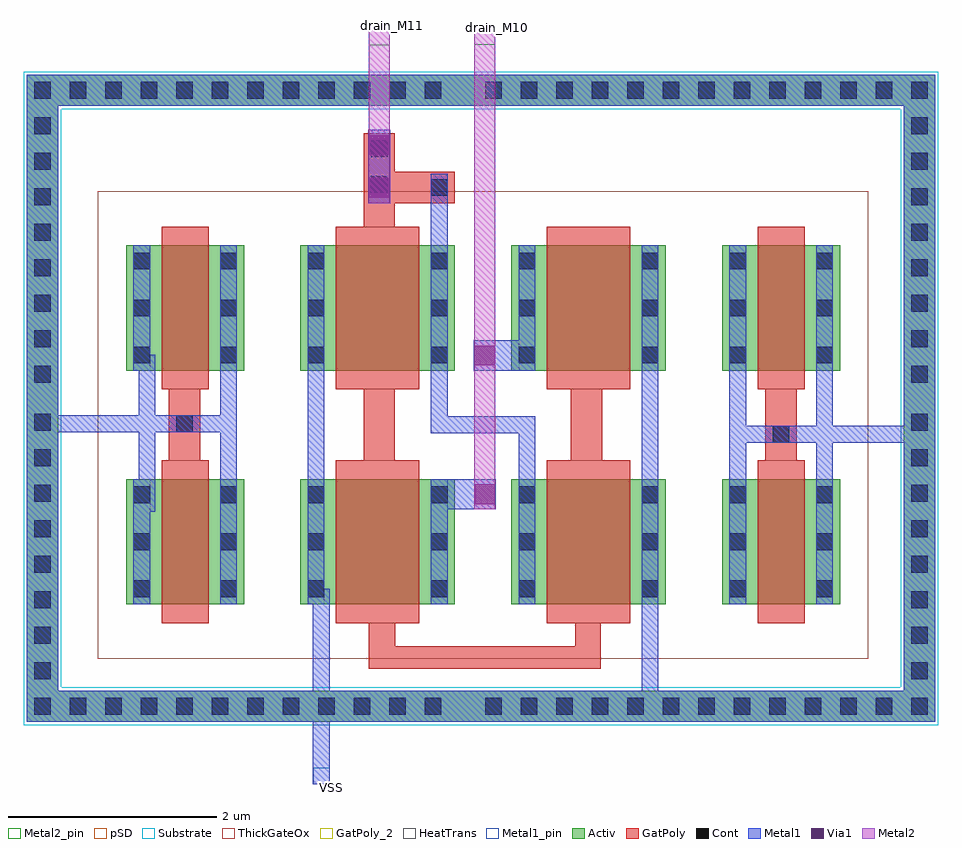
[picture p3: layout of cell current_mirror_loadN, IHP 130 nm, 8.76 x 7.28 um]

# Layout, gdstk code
from math import pi, radians
import gdstk
lib = gdstk.Library(unit=1e-6, precision=5e-09)
def R(c, l, rs):  # rectangles x0, y0, x1, y1
    for r in rs: c.add(gdstk.rectangle(r[:2], r[2:], *l))
def A(c, l, x, y, w, h, nx, ny, dx, dy):  # array of equal rectangles
    R(c, l, [(x+i*dx, y+j*dy, x+i*dx+w, y+j*dy+h) for i in range(nx) for j in range(ny)])
def P(c, l, *ps):  # polygons
    for p in ps: c.add(gdstk.Polygon(p, *l))
Activ = (1, 0)
GatPoly = (5, 0)
GatPoly_2 = (5, 2)
Cont = (6, 0)
Metal1 = (8, 0)
Metal1_pin = (8, 2)
Metal2 = (10, 0)
Metal2_pin = (10, 2)
pSD = (14, 0)
Via1 = (19, 0)
Substrate = (40, 0)
ThickGateOx = (44, 0)
HeatTrans = (51, 0)

nmoshv_4 = lib.new_cell('nmosHV$4')
R(nmoshv_4, Activ, [(0,0,0.3,0.3), (0,0,1.48,1.2), (1.18,0,1.48,0.3)])
R(nmoshv_4, GatPoly, [(0.34,-0.18,1.14,1.38)])
R(nmoshv_4, GatPoly_2, [(0.34,-0.18,1.14,1.38)])
A(nmoshv_4, Cont, 0.07, 0.07, 0.16, 0.16, 1, 3, 0, 0.45)
A(nmoshv_4, Cont, 1.25, 0.07, 0.16, 0.16, 1, 3, 0, 0.45)
R(nmoshv_4, Metal1, [(0.07,0,0.23,1.2), (1.25,0,1.41,1.2)])
R(nmoshv_4, Metal1_pin, [(0.07,0,0.23,1.2), (1.25,0,1.41,1.2)])
R(nmoshv_4, ThickGateOx, [(-0.27,-0.52,1.75,1.72)])
R(nmoshv_4, HeatTrans, [(0.34,-0.18,1.14,1.38)])
nmoshv_4.add(gdstk.Label('nmosHV', (0.74,0.6), layer=63, texttype=0))
nmoshv_4.add(gdstk.Label('nmosHV', (0.74,0.6), layer=51, texttype=0))

nmoshv_6 = lib.new_cell('nmosHV$6')
R(nmoshv_6, Activ, [(0,0,0.3,0.3), (0,0,1.13,1.2), (0.83,0,1.13,0.3)])
R(nmoshv_6, GatPoly, [(0.34,-0.18,0.79,1.38)])
R(nmoshv_6, GatPoly_2, [(0.34,-0.18,0.79,1.38)])
A(nmoshv_6, Cont, 0.07, 0.07, 0.16, 0.16, 1, 3, 0, 0.45)
A(nmoshv_6, Cont, 0.9, 0.07, 0.16, 0.16, 1, 3, 0, 0.45)
R(nmoshv_6, Metal1, [(0.07,0,0.23,1.2), (0.9,0,1.06,1.2)])
R(nmoshv_6, Metal1_pin, [(0.07,0,0.23,1.2), (0.9,0,1.06,1.2)])
R(nmoshv_6, ThickGateOx, [(-0.27,-0.52,1.4,1.72)])
R(nmoshv_6, HeatTrans, [(0.34,-0.18,0.79,1.38)])
nmoshv_6.add(gdstk.Label('nmosHV', (0.565,0.6), layer=63, texttype=0))
nmoshv_6.add(gdstk.Label('nmosHV', (0.565,0.6), layer=51, texttype=0))

via_stack = lib.new_cell('via_stack')
R(via_stack, Metal1, [(-0.145,-0.105,0.145,0.105)])
R(via_stack, Metal2, [(-0.145,-0.1,0.145,0.1)])
R(via_stack, Via1, [(-0.095,-0.095,0.095,0.095)])

via_stack_5 = lib.new_cell('via_stack$5')
R(via_stack_5, GatPoly, [(-0.15,-0.15,0.15,0.15)])
R(via_stack_5, Cont, [(-0.08,-0.08,0.08,0.08)])
R(via_stack_5, Metal1, [(-0.13,-0.08,0.13,0.08)])

via_stack_3 = lib.new_cell('via_stack$3')
R(via_stack_3, GatPoly, [(-0.32,-0.15,0.32,0.15)])
R(via_stack_3, Cont, [(-0.25,-0.08,-0.09,0.08), (0.09,-0.08,0.25,0.08)])
R(via_stack_3, Metal1, [(-0.35,-0.105,0.35,0.105)])
R(via_stack_3, Metal2, [(-0.35,-0.1,0.35,0.1)])
R(via_stack_3, Via1, [(-0.3,-0.095,-0.11,0.095), (0.11,-0.095,0.3,0.095)])

guard_ring_6 = lib.new_cell('guard_ring$6')
R(guard_ring_6, Activ, [(-4.35,-2.8,-4.05,2.8), (4.05,-2.8,4.35,2.8), (-4.35,2.8,4.35,3.1)])
P(guard_ring_6, Activ, [(-4.35,-3.1),(-4.35,2.8),(-4.05,2.8),(-4.05,-2.8),(4.05,-2.8),(4.05,2.8),(-4.35,2.8),(-4.35,3.1),(4.35,3.1),(4.35,-3.1)])
A(guard_ring_6, Cont, -4.28, -3.03, 0.16, 0.16, 12, 2, 0.34, 5.9)
A(guard_ring_6, Cont, 0.04, -3.03, 0.16, 0.16, 13, 2, 0.34, 5.9)
A(guard_ring_6, Cont, -4.28, -2.69, 0.16, 0.16, 1, 8, 0, 0.34)
A(guard_ring_6, Cont, 4.12, -2.69, 0.16, 0.16, 1, 8, 0, 0.34)
A(guard_ring_6, Cont, -4.28, 0.15, 0.16, 0.16, 1, 8, 0, 0.34)
A(guard_ring_6, Cont, 4.12, 0.15, 0.16, 0.16, 1, 8, 0, 0.34)
R(guard_ring_6, Metal1, [(-4.35,-3.1,4.35,-2.8), (-4.35,-2.8,-4.05,2.8), (4.05,-2.8,4.35,2.8), (-4.35,2.8,4.35,3.1)])
R(guard_ring_6, pSD, [(-4.38,-2.77,-4.02,2.77), (4.02,-2.77,4.38,2.77), (-4.38,2.77,4.38,3.13)])
P(guard_ring_6, pSD, [(-4.38,-3.13),(-4.38,2.77),(-4.02,2.77),(-4.02,-2.77),(4.02,-2.77),(4.02,2.77),(-4.38,2.77),(-4.38,3.13),(4.38,3.13),(4.38,-3.13)])
R(guard_ring_6, Substrate, [(-4.38,-2.77,-4.02,2.77), (4.02,-2.77,4.38,2.77), (-4.38,2.77,4.38,3.13)])
P(guard_ring_6, Substrate, [(-4.38,-3.13),(-4.38,2.77),(-4.02,2.77),(-4.02,-2.77),(4.02,-2.77),(4.02,2.77),(-4.38,2.77),(-4.38,3.13),(4.38,3.13),(4.38,-3.13)])
guard_ring_6.add(gdstk.Label('sub!', (0,-2.95), layer=63, texttype=0))

current_mirror_loadn = lib.new_cell('current_mirror_loadN')
R(current_mirror_loadn, GatPoly, [(-0.515,-1.78,-0.26,-1.345), (-0.515,-1.78,1.705,-1.565), (1.465,-1.685,1.705,-1.345), (-2.43,0.215,-2.13,0.895), (-0.565,0.215,-0.265,0.895), (1.42,0.215,1.72,0.895), (3.285,0.215,3.585,0.895), (3.285,0.215,3.585,0.815), (-0.565,2.455,-0.265,3.35)])
P(current_mirror_loadn, GatPoly, [(-0.565,2.68),(-0.565,2.98),(0.31,2.98),(0.31,2.68),(0.27,2.68)])
R(current_mirror_loadn, Metal1, [(-1.05,-2.885,-0.89,-1.015), (2.1,-2.195,2.26,-1.165), (-2.72,-0.275,-2.56,1.225), (0.24,-0.255,0.7,0.035), (-1.94,-0.205,-1.78,1.075), (-1.1,0.035,-0.94,1.075), (0.92,0.035,1.08,0.475), (2.1,0.035,2.26,1.075), (2.94,0.035,3.1,1.075), (3.77,0.035,3.93,1.075), (2.94,0.385,3.585,0.545), (3.305,0.385,4.835,0.545), (0.08,0.475,1.08,0.64), (-3.665,0.485,-1.94,0.645), (0.49,1.075,0.92,1.365), (0.08,2.275,0.24,2.7)])
P(current_mirror_loadn, Metal1, [(0.08,0.64),(0.08,1.075),(0.24,1.075),(0.24,0.835),(0.24,0.77),(0.24,0.64)])
R(current_mirror_loadn, Metal1_pin, [(-1.045,-2.885,-0.89,-2.73)])
R(current_mirror_loadn, Metal2, [(0.495,-0.255,0.695,1.285), (0.495,0.995,0.695,4.38), (-0.515,2.68,-0.315,4.395)])
R(current_mirror_loadn, Metal2_pin, [(-0.515,4.19,-0.315,4.395)])
P(current_mirror_loadn, Metal2_pin, [(0.495,4.195),(0.495,4.38),(0.695,4.38),(0.695,4.195),(0.645,4.195)])
current_mirror_loadn.add(gdstk.Reference(nmoshv_4, (0.85,1.075)))
current_mirror_loadn.add(gdstk.Reference(nmoshv_4, (-1.17,1.075)))
current_mirror_loadn.add(gdstk.Reference(nmoshv_6, (2.87,1.075)))
current_mirror_loadn.add(gdstk.Reference(nmoshv_6, (2.87,-1.165)))
current_mirror_loadn.add(gdstk.Reference(nmoshv_6, (-2.84,1.075)))
current_mirror_loadn.add(gdstk.Reference(nmoshv_6, (-2.84,-1.165)))
current_mirror_loadn.add(gdstk.Reference(nmoshv_4, (-1.17,-1.165)))
current_mirror_loadn.add(gdstk.Reference(via_stack, (0.595,-0.11), rotation=3*pi/2))
current_mirror_loadn.add(gdstk.Reference(nmoshv_4, (0.85,-1.165)))
current_mirror_loadn.add(gdstk.Reference(via_stack_5, (3.435,0.465)))
current_mirror_loadn.add(gdstk.Reference(via_stack_5, (-2.28,0.565)))
current_mirror_loadn.add(gdstk.Reference(via_stack, (0.595,1.22), rotation=3*pi/2))
current_mirror_loadn.add(gdstk.Reference(via_stack_5, (0.16,2.83), rotation=3*pi/2))
current_mirror_loadn.add(gdstk.Reference(via_stack_3, (-0.415,3.03), rotation=3*pi/2))
current_mirror_loadn.add(gdstk.Reference(guard_ring_6, (0.56,0.81)))
current_mirror_loadn.add(gdstk.Label('VSS', (-0.87,-2.915), layer=8, texttype=0))
current_mirror_loadn.add(gdstk.Label('drain_M11', (-0.285,4.385), layer=10, texttype=0))
current_mirror_loadn.add(gdstk.Label('drain_M10', (0.72,4.36), layer=10, texttype=0))

lib.write_gds('current_mirror_loadN.gds')
